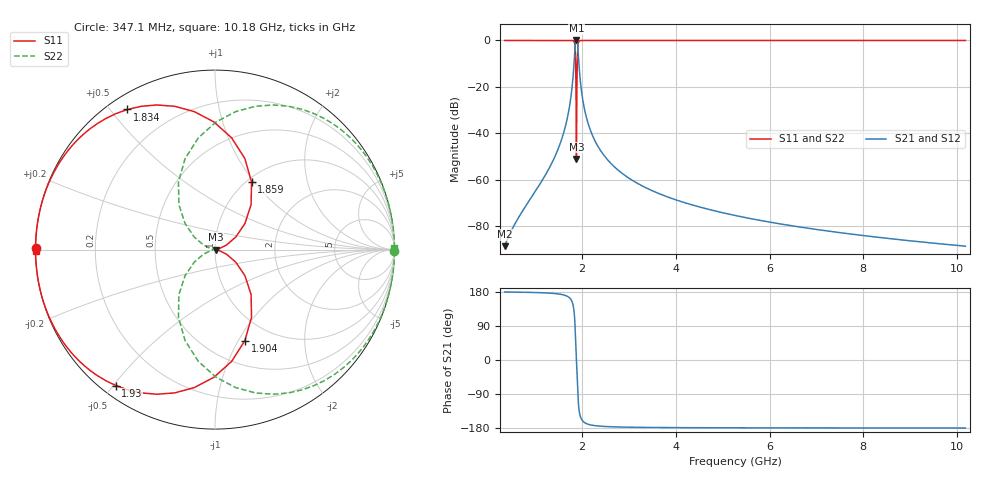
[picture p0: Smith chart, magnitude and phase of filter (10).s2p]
! rf-tools.com
! Date: Thu Jan 30 2020 11:13:20 GMT+0000 (格林尼治标准时间)
# Hz S DB R 50.00
!Frequency  S11 dB  S11 Deg  S21 dB  S21 Deg  S12 dB  S12 Deg  S22 dB  S22 Deg
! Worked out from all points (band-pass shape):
!   2000 points, 347.1 MHz to 10.18 GHz, reference 50 ohm
!   highest |S21| = 0.00 dB at 1.878 GHz (marker M1); lowest = -88.6 dB at 347.1 MHz (marker M2)
!   |S21| within 3 dB of the highest: 1.85 GHz to 1.91 GHz (59.9 MHz wide, 3.19 % of centre)
!   lowest |S11| = -51.0 dB at 1.878 GHz (marker M3), VSWR 1.01, Z = 50.3 + j0.0211 ohm
!   |S11| at or under -10 dB: 1.863 GHz to 1.897 GHz (34.68 MHz wide, 1.84 % of centre)
!   |S22| runs from -51.0 to 0.0 dB; largest |S21 - S12| = 0
!   S11 on the Smith chart (normalised r, x): 347.1 MHz: -0.00, +0.00; 1.834 GHz: 0.05, +0.55; 1.859 GHz: 1.05, +0.97; 1.904 GHz: 0.75, -1.07; 1.93 GHz: 0.04, -0.51; 10.18 GHz: -0.00, -0.00
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3.47119e8  -0.00 179.5  -88.58 179.5  -88.58 179.5  -0.00 -0.5
5.450722e8  -0.00 179.2  -79.82 179.2  -79.82 179.2  -0.00 -0.8
1.46253e9  -0.00 174.9  -48.05 174.9  -48.05 174.9  -0.00 -5.1
1.708567e9  -0.00 166.4  -31.11 166.4  -31.11 166.4  -0.00 -13.6
1.794394e9  -0.06 151.2  -18.63 151.2  -18.63 151.2  -0.06 -28.8
1.81882e9  -0.23 138.2  -12.83 138.2  -12.83 138.2  -0.23 -41.8
1.834255e9  -0.72 122.0  -8.17 122.0  -8.17 122.0  -0.72 -58.0
1.859224e9  -7.37 61.6  -0.88 61.6  -0.88 61.6  -7.37 -118.4
1.878173e9  -51.05 4.3  -0.00 4.3  -0.00 4.3  -51.05 -175.7
1.903739e9  -5.46 -71.8  -1.45 -71.8  -1.45 -71.8  -5.46 108.2
1.929654e9  -0.56 -126.1  -9.17 -126.1  -9.17 -126.1  -0.56 53.9
1.955921e9  -0.11 -145.9  -15.95 -145.9  -15.95 -145.9  -0.11 34.1
1.985899e9  -0.03 -155.8  -21.51 -155.8  -21.51 -155.8  -0.03 24.2
2.057648e9  -0.00 -165.6  -30.16 -165.6  -30.16 -165.6  -0.00 14.4
2.153718e9  -0.00 -170.5  -37.28 -170.5  -37.28 -170.5  -0.00 9.5
2.453049e9  -0.00 -175.2  -49.09 -175.2  -49.09 -175.2  -0.00 4.8
2.929377e9  -0.00 -177.2  -58.33 -177.2  -58.33 -177.2  -0.00 2.8
3.624583e9  -0.00 -178.2  -65.80 -178.2  -65.80 -178.2  -0.00 1.8
5.26587e9  -0.00 -178.9  -75.36 -178.9  -75.36 -178.9  -0.00 1.1
6.91262e9  -0.00 -179.2  -81.13 -179.2  -81.13 -179.2  -0.00 0.8
8.55314e9  -0.00 -179.4  -85.30 -179.4  -85.30 -179.4  -0.00 0.6
1.01795e10  -0.00 -179.5  -88.58 -179.5  -88.58 -179.5  -0.00 0.5
